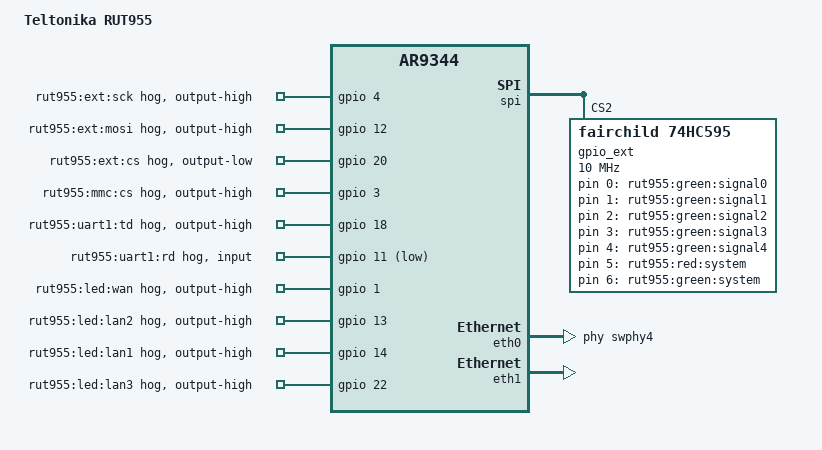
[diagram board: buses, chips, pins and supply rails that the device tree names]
// SPDX-License-Identifier: GPL-2.0-or-later OR MIT
/dts-v1/;

#include "ar9344_teltonika_rut9xx.dtsi"

/ {
	model = "Teltonika RUT955";
	compatible = "teltonika,rut955", "teltonika,rut9xx", "qca,ar9344";

	aliases {
		led-boot = &led_system_green;
		led-failsafe = &led_system_red;
		led-running = &led_system_green;
		led-upgrade = &led_system_red;
	};

	leds {
		compatible = "gpio-leds";

		signal0 {
			label = "rut955:green:signal0";
			gpios = <&gpio_ext 0 GPIO_ACTIVE_HIGH>;
		};

		signal1 {
			label = "rut955:green:signal1";
			gpios = <&gpio_ext 1 GPIO_ACTIVE_HIGH>;
		};

		signal2 {
			label = "rut955:green:signal2";
			gpios = <&gpio_ext 2 GPIO_ACTIVE_HIGH>;
		};

		signal3 {
			label = "rut955:green:signal3";
			gpios = <&gpio_ext 3 GPIO_ACTIVE_HIGH>;
		};

		signal4 {
			label = "rut955:green:signal4";
			gpios = <&gpio_ext 4 GPIO_ACTIVE_HIGH>;
		};

		led_system_red: system_red {
			label = "rut955:red:system";
			gpios = <&gpio_ext 5 GPIO_ACTIVE_HIGH>;
		};

		led_system_green: system_green {
			label = "rut955:green:system";
			gpios = <&gpio_ext 6 GPIO_ACTIVE_HIGH>;
			default-state = "on";
		};
	};
};

&gpio {
	pinctrl-names = "default";
	pinctrl-0 = <&jtag_disable_pins>;

	gpio-line-names = "RS485_D", "led_wan", "DIN3", "mmc_cs",
		"ext_sck", "", "", "",
		"", "", "", "",
		"ext_mosi", "led_lan2", "led_lan1", "",
		"i2c_scl", "i2c_sda", "", "DIN2",
		"ext_cs", "DIN1", "led_lan3", "",
		"", "", "", "",
		"", "", "", "";

	ext_sck {
		gpio-hog;
		gpios = <4 GPIO_ACTIVE_HIGH>;
		output-high;
		line-name = "rut955:ext:sck";
	};

	ext_mosi {
		gpio-hog;
		gpios = <12 GPIO_ACTIVE_HIGH>;
		output-high;
		line-name = "rut955:ext:mosi";
	};

	ext_cs {
		gpio-hog;
		gpios = <20 GPIO_ACTIVE_HIGH>;
		output-low;
		line-name = "rut955:ext:cs";
	};

	mmc_cs {
		gpio-hog;
		gpios = <3 GPIO_ACTIVE_HIGH>;
		output-high;
		line-name = "rut955:mmc:cs";
	};

	uart1_td {
		gpio-hog;
		gpios = <18 GPIO_ACTIVE_HIGH>;
		output-high;
		line-name = "rut955:uart1:td";
	};

	uart1_rd {
		gpio-hog;
		gpios = <11 GPIO_ACTIVE_LOW>;
		input;
		line-name = "rut955:uart1:rd";
	};

	led_wan {
		gpio-hog;
		gpios = <1 GPIO_ACTIVE_HIGH>;
		output-high;
		line-name = "rut955:led:wan";
	};

	led_lan2 {
		gpio-hog;
		gpios = <13 GPIO_ACTIVE_HIGH>;
		output-high;
		line-name = "rut955:led:lan2";
	};

	led_lan1 {
		gpio-hog;
		gpios = <14 GPIO_ACTIVE_HIGH>;
		output-high;
		line-name = "rut955:led:lan1";
	};

	led_lan3 {
		gpio-hog;
		gpios = <22 GPIO_ACTIVE_HIGH>;
		output-high;
		line-name = "rut955:led:lan3";
	};
};

&spi {
	status = "okay";

	num-cs = <3>;
	pinctrl-names = "default";
	pinctrl-0 = <&pmx_spi>, <&pmx_spi_ext>;

	gpio_ext: gpio_ext@2 {
		compatible = "fairchild,74hc595";
		reg = <2>;
		gpio-controller;
		#gpio-cells = <2>;
		registers-number = <2>;
		spi-max-frequency = <10000000>;
		gpio-line-names = "signal_bar0", "signal_bar1", "signal_bar2", "signal_bar3",
			"signal_bar4", "status_red", "status_green", "sim_sel",
			"DOUT1", "DOUT2", "modem_vbus", "modem_rst",
			"DOUT3", "RS485_R", "SDCS", "HWRST";
	};
};

&hs_uart {
	dtr-gpios = <&gpio_ext 13 GPIO_ACTIVE_HIGH>;
};

&eth0 {
	status = "okay";

	phy-handle = <&swphy4>;

	mtd-mac-address = <&config 0x0>;
	mtd-mac-address-increment = <1>;
};

&eth1 {
	status = "okay";

	mtd-mac-address = <&config 0x0>;
};

&builtin_switch {
	pinctrl-names = "default";
	pinctrl-0 = <&pmx_leds_switch>;
};

&pinmux {
	pmx_spi_ext: spi_ext {
		// 2nd SCK on GPIO 4, 2nd MOSI on GPIO 12, SPI_CS2 on GPIO 20
		pinctrl-single,bits = <0x4 0x0a 0xff>,
					<0xc 0x0b 0xff>,
					<0x14 0x08 0xff>;
	};
};
